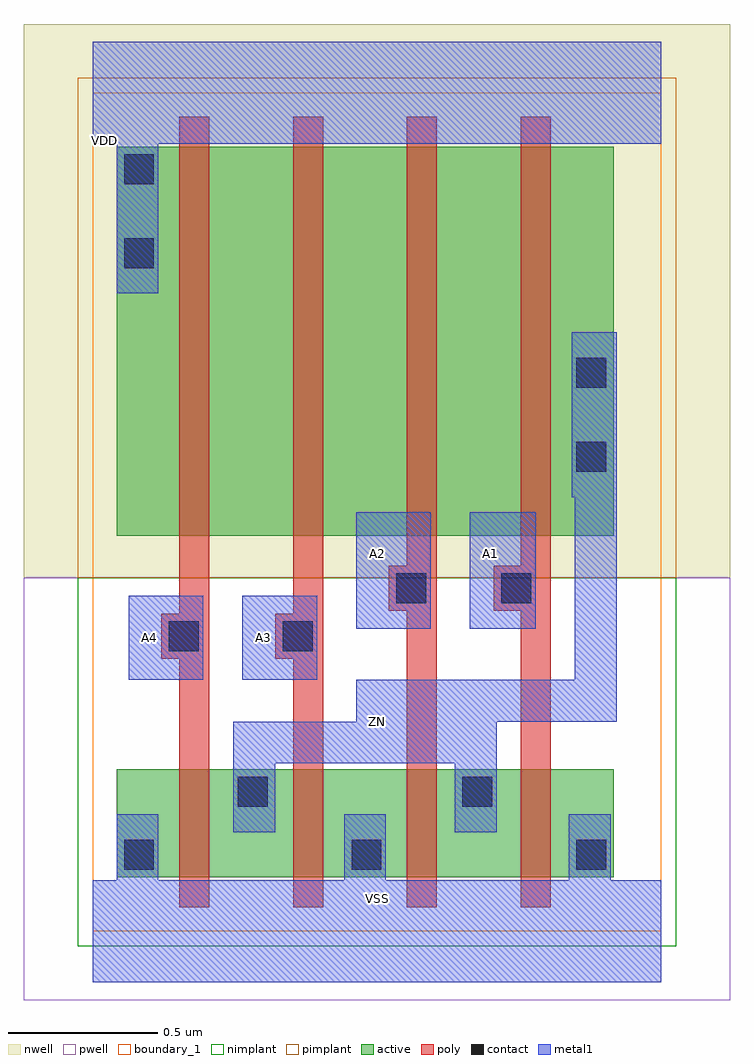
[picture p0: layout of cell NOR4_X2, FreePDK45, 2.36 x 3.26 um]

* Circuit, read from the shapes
.subckt NOR4_X2 A1 A2 A3 A4 VDD VSS ZN
M1 ZN A4 VSS VSUBS nfet w=0.36u l=0.1u
M2 VSS A3 ZN VSUBS nfet w=0.36u l=0.1u
M3 ZN A2 VSS VSUBS nfet w=0.36u l=0.1u
M4 VSS A1 ZN VSUBS nfet w=0.36u l=0.1u
M5 n1 A4 VDD n2 pfet w=1.3u l=0.1u
M6 n3 A3 n1 n2 pfet w=1.3u l=0.1u
M7 n4 A2 n3 n2 pfet w=1.3u l=0.1u
M8 ZN A1 n4 n2 pfet w=1.3u l=0.1u
.ends

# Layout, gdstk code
import gdstk
lib = gdstk.Library(unit=1e-6, precision=1e-09)
def R(c, l, rs):  # rectangles x0, y0, x1, y1
    for r in rs: c.add(gdstk.rectangle(r[:2], r[2:], *l))
def P(c, l, *ps):  # polygons
    for p in ps: c.add(gdstk.Polygon(p, *l))
active = (1, 0)
pwell = (2, 0)
nwell = (3, 0)
nimplant = (4, 0)
pimplant = (5, 0)
poly = (9, 0)
contact = (10, 0)
metal1 = (11, 0)
boundary_1 = (235, 1)

nor4_x2 = lib.new_cell('NOR4_X2')
R(nor4_x2, active, [(0.08,0.18,1.74,0.54), (0.08,1.32,1.74,2.62)])
R(nor4_x2, pwell, [(-0.23,-0.23,2.13,1.18)])
R(nor4_x2, nwell, [(-0.23,1.18,2.13,3.03)])
R(nor4_x2, nimplant, [(-0.05,-0.05,1.95,1.18)])
R(nor4_x2, pimplant, [(-0.05,1.18,1.95,2.85)])
P(nor4_x2, poly, [(1.34,1.07),(1.43,1.07),(1.43,0.08),(1.53,0.08),(1.53,2.72),(1.43,2.72),(1.43,1.22),(1.34,1.22)],
  [(0.99,1.07),(1.05,1.07),(1.05,0.08),(1.15,0.08),(1.15,2.72),(1.05,2.72),(1.05,1.22),(0.99,1.22)],
  [(0.61,0.91),(0.67,0.91),(0.67,0.08),(0.77,0.08),(0.77,2.72),(0.67,2.72),(0.67,1.06),(0.61,1.06)],
  [(0.23,0.91),(0.29,0.91),(0.29,0.08),(0.39,0.08),(0.39,2.72),(0.29,2.72),(0.29,1.06),(0.23,1.06)])
R(nor4_x2, contact, [(0.105,0.205,0.205,0.305), (0.865,0.205,0.965,0.305), (1.615,0.205,1.715,0.305), (0.485,0.415,0.585,0.515), (1.235,0.415,1.335,0.515), (0.255,0.935,0.355,1.035), (0.635,0.935,0.735,1.035), (1.015,1.095,1.115,1.195), (1.365,1.095,1.465,1.195), (1.615,1.535,1.715,1.635), (1.615,1.815,1.715,1.915), (0.105,2.215,0.205,2.315), (0.105,2.495,0.205,2.595)])
R(nor4_x2, metal1, [(0.12,0.84,0.37,1.12), (0.12,0.84,0.37,1.12), (0.5,0.84,0.75,1.12), (0.5,0.84,0.75,1.12), (0.88,1.01,1.13,1.4), (0.88,1.01,1.13,1.4), (1.26,1.01,1.48,1.4), (1.26,1.01,1.48,1.4)])
P(nor4_x2, metal1, [(1.6,1.45),(1.61,1.45),(1.61,0.84),(0.88,0.84),(0.88,0.7),(0.47,0.7),(0.47,0.33),(0.61,0.33),(0.61,0.56),(1.21,0.56),(1.21,0.33),(1.35,0.33),(1.35,0.7),(1.75,0.7),(1.75,2),(1.6,2)],
  [(0,-0.17),(1.9,-0.17),(1.9,0.17),(1.73,0.17),(1.73,0.39),(1.59,0.39),(1.59,0.17),(0.98,0.17),(0.98,0.39),(0.84,0.39),(0.84,0.17),(0.22,0.17),(0.22,0.39),(0.08,0.39),(0.08,0.17),(0,0.17)],
  [(0,2.63),(0.08,2.63),(0.08,2.13),(0.22,2.13),(0.22,2.63),(1.9,2.63),(1.9,2.97),(0,2.97)],
  [(0,2.63),(0.08,2.63),(0.08,2.13),(0.22,2.13),(0.22,2.63),(1.9,2.63),(1.9,2.97),(0,2.97)],
  [(0,-0.17),(1.9,-0.17),(1.9,0.17),(1.73,0.17),(1.73,0.39),(1.59,0.39),(1.59,0.17),(0.98,0.17),(0.98,0.39),(0.84,0.39),(0.84,0.17),(0.22,0.17),(0.22,0.39),(0.08,0.39),(0.08,0.17),(0,0.17)],
  [(1.6,1.45),(1.61,1.45),(1.61,0.84),(0.88,0.84),(0.88,0.7),(0.47,0.7),(0.47,0.33),(0.61,0.33),(0.61,0.56),(1.21,0.56),(1.21,0.33),(1.35,0.33),(1.35,0.7),(1.75,0.7),(1.75,2),(1.6,2)])
R(nor4_x2, boundary_1, [(0,0,1.9,2.8)])
nor4_x2.add(gdstk.Label('ZN', (0.95,0.7), layer=11, texttype=0))
nor4_x2.add(gdstk.Label('VSS', (0.95,0.11), layer=11, texttype=0))
nor4_x2.add(gdstk.Label('VDD', (0.04,2.64), layer=11, texttype=0))
nor4_x2.add(gdstk.Label('A4', (0.19,0.98), layer=11, texttype=0))
nor4_x2.add(gdstk.Label('A3', (0.57,0.98), layer=11, texttype=0))
nor4_x2.add(gdstk.Label('A2', (0.95,1.26), layer=11, texttype=0))
nor4_x2.add(gdstk.Label('A1', (1.33,1.26), layer=11, texttype=0))

lib.write_gds('NOR4_X2.gds')
